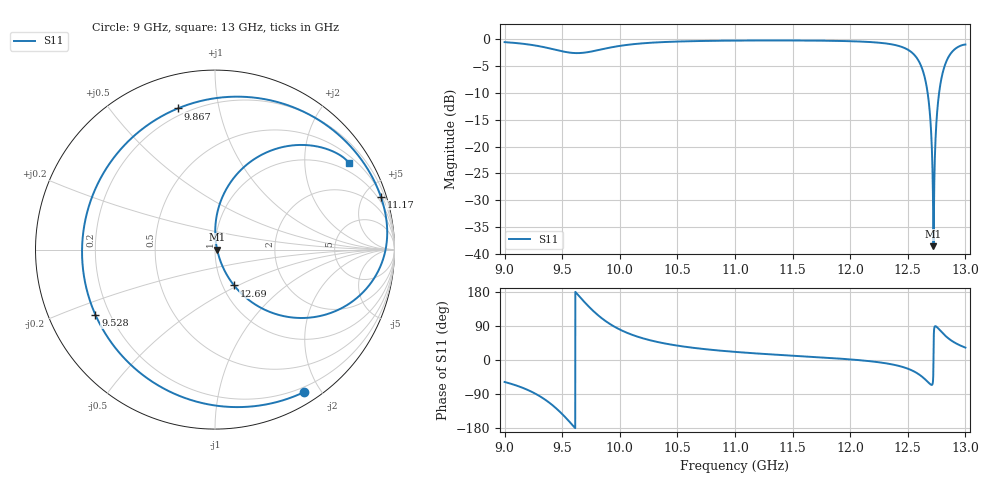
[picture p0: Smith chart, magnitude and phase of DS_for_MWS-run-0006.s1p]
! TOUCHSTONE file generated by CST DESIGN STUDIO
! Date and time: Tue Feb  4 13:02:20 2025
! Project name: C:\Work\MatlabApps\UnitCellOptimizationMatlab\CST\unitcell.cst
! Tree item: Tasks\Sweep1\SPara1\S-Parameters
! Header version: 2024
! Port assignment regex: !\s*Touchstone port\s*([0-9]+)\s*=\s*(CST MWS port|CST DES external port|CST DES block port)\s*(.+)\s* \(\"(.*)\"\)(\s*mode\s*([0-9]+))?.*
! Touchstone port assignment:
! Touchstone port 1 = CST DES external port 1 ("")
# GHz S MA R 50
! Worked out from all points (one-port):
!   4001 points, 9 GHz to 13 GHz, reference 50 ohm
!   lowest |S11| = -38.5 dB at 12.72 GHz (marker M1), VSWR 1.02, Z = 51.2 + j0.00867 ohm
!   |S11| at or under -10 dB: 12.67 GHz to 12.77 GHz (99.74 MHz wide, 0.784 % of centre)
!   S11 on the Smith chart (normalised r, x): 9 GHz: 0.14, -1.80; 9.528 GHz: 0.15, -0.25; 9.867 GHz: 0.16, +0.76; 11.17 GHz: 0.64, +6.36; 12.69 GHz: 1.13, -0.48; 13 GHz: 0.71, +3.26
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9  0.9363 -58.0
9.305  0.8564 -95.5
9.406  0.8119 -116.9
9.5  0.7695 -142.7
9.528  0.7589 -151.4
9.672  0.7436 159.9
9.771  0.7727 129.0
9.867  0.8132 104.8
10  0.8639 80.4
10.219  0.9165 55.6
10.5  0.9481 37.9
11  0.9677 21.4
11.167  0.9698 17.7
11.5  0.97 11.3
12  0.9552 1.6
12.323  0.9064 -9.3
12.5  0.7971 -22.9
12.625  0.5291 -44.3
12.662  0.3691 -54.4
12.688  0.2263 -62.0
12.71  0.08908 -65.6
12.723  0.01185 0.4
12.737  0.09229 89.2
12.751  0.1848 87.3
12.764  0.2679 83.5
12.805  0.4956 70.1
12.878  0.7465 51.3
13  0.8892 32.7
